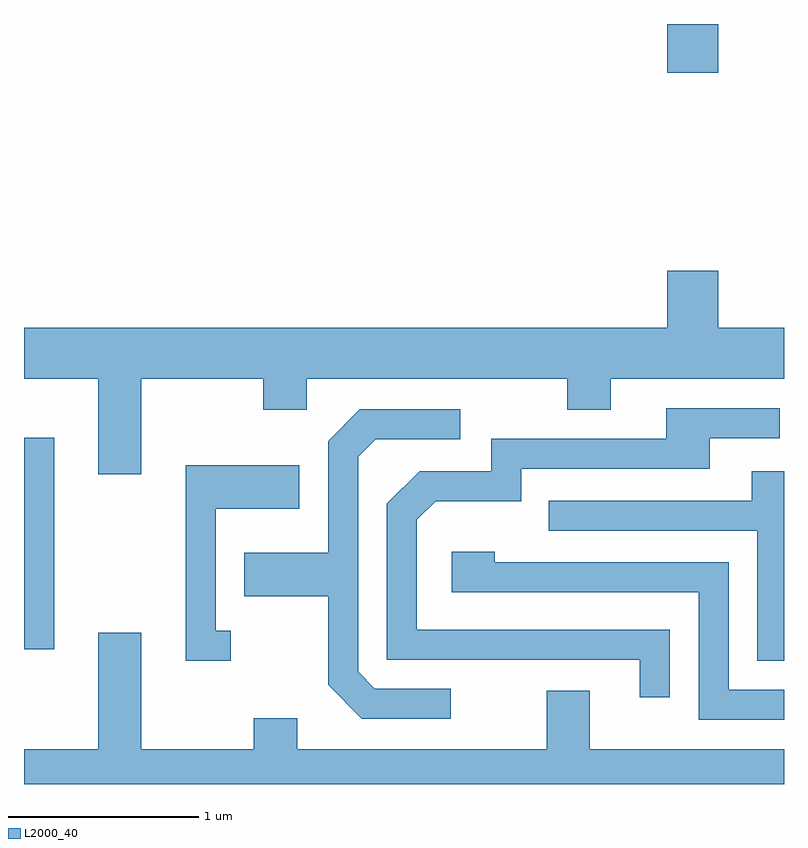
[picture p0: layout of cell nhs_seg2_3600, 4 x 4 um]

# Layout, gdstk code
import gdstk
lib = gdstk.Library(unit=1e-6, precision=1e-09)
def R(c, l, rs):  # rectangles x0, y0, x1, y1
    for r in rs: c.add(gdstk.rectangle(r[:2], r[2:], *l))
def P(c, l, *ps):  # polygons
    for p in ps: c.add(gdstk.Polygon(p, *l))
L2000_40 = (2000, 40)

nhs_seg2_3600 = lib.new_cell('nhs_seg2_3600')
R(nhs_seg2_3600, L2000_40, [(291.611,982.511,291.769,983.624), (294.996,985.546,295.264,985.802)])
P(nhs_seg2_3600, L2000_40, [(292.229,983.936),(292.871,983.936),(292.871,983.771),(293.099,983.771),(293.099,983.936),(294.471,983.936),(294.471,983.771),(294.699,983.771),(294.699,983.936),(295.611,983.936),(295.611,984.204),(295.264,984.204),(295.264,984.504),(294.996,984.504),(294.996,984.204),(291.611,984.204),(291.611,983.936),(292.001,983.936),(292.001,983.431),(292.229,983.431)],
  [(295.009,982.614),(293.679,982.614),(293.679,983.194),(293.777,983.291),(294.229,983.291),(294.229,983.461),(295.219,983.461),(295.219,983.621),(295.588,983.621),(295.588,983.779),(294.991,983.779),(294.991,983.619),(294.071,983.619),(294.071,983.449),(293.694,983.449),(293.521,983.277),(293.521,982.456),(294.851,982.456),(294.851,982.258),(295.009,982.258)],
  [(293.858,982.304),(293.457,982.304),(293.369,982.392),(293.369,983.524),(293.462,983.616),(293.908,983.616),(293.908,983.774),(293.379,983.774),(293.211,983.607),(293.211,983.019),(292.771,983.019),(292.771,982.791),(293.211,982.791),(293.211,982.324),(293.389,982.146),(293.858,982.146)],
  [(292.698,982.609),(292.619,982.609),(292.619,983.251),(293.059,983.251),(293.059,983.479),(292.461,983.479),(292.461,982.451),(292.698,982.451)],
  [(295.611,983.449),(295.441,983.449),(295.441,983.294),(294.373,983.294),(294.373,983.136),(295.471,983.136),(295.471,982.451),(295.611,982.451)],
  [(295.611,982.299),(295.319,982.299),(295.319,982.969),(294.089,982.969),(294.089,983.024),(293.861,983.024),(293.861,982.811),(295.161,982.811),(295.161,982.141),(295.611,982.141)],
  [(295.611,981.984),(294.589,981.984),(294.589,982.294),(294.361,982.294),(294.361,981.984),(293.049,981.984),(293.049,982.149),(292.821,982.149),(292.821,981.984),(292.229,981.984),(292.229,982.599),(292.001,982.599),(292.001,981.984),(291.611,981.984),(291.611,981.802),(295.611,981.802)])

lib.write_gds('nhs_seg2_3600.gds')
